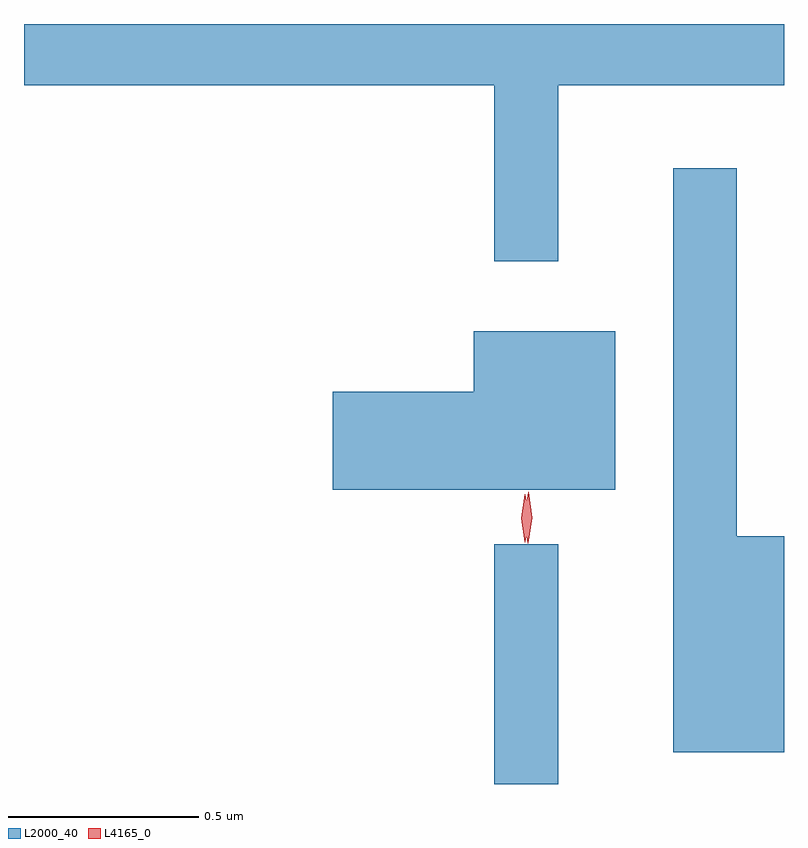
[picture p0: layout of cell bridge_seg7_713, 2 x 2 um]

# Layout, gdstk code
import gdstk
lib = gdstk.Library(unit=1e-6, precision=1e-09)
def R(c, l, rs):  # rectangles x0, y0, x1, y1
    for r in rs: c.add(gdstk.rectangle(r[:2], r[2:], *l))
def P(c, l, *ps):  # polygons
    for p in ps: c.add(gdstk.Polygon(p, *l))
L2000_40 = (2000, 40)
L4165_0 = (4165, 0)

bridge_seg7_713 = lib.new_cell('bridge_seg7_713')
R(bridge_seg7_713, L2000_40, [(956.831,1714.697,956.999,1715.328)])
P(bridge_seg7_713, L2000_40, [(956.999,1716.536),(957.593,1716.536),(957.593,1716.697),(955.593,1716.697),(955.593,1716.536),(956.831,1716.536),(956.831,1716.073),(956.999,1716.073)],
  [(957.593,1715.349),(957.469,1715.349),(957.469,1716.318),(957.301,1716.318),(957.301,1714.781),(957.593,1714.781)],
  [(957.149,1715.889),(956.776,1715.889),(956.776,1715.729),(956.406,1715.729),(956.406,1715.471),(957.149,1715.471)])
P(bridge_seg7_713, L4165_0, [(956.919,1715.33),(956.919,1715.33),(956.91,1715.398),(956.92,1715.465),(956.921,1715.466),(956.921,1715.465),(956.93,1715.398),(956.92,1715.33)],
  [(956.911,1715.333),(956.902,1715.396),(956.911,1715.459),(956.912,1715.46),(956.912,1715.459),(956.922,1715.396),(956.912,1715.333),(956.912,1715.333)])

lib.write_gds('bridge_seg7_713.gds')
